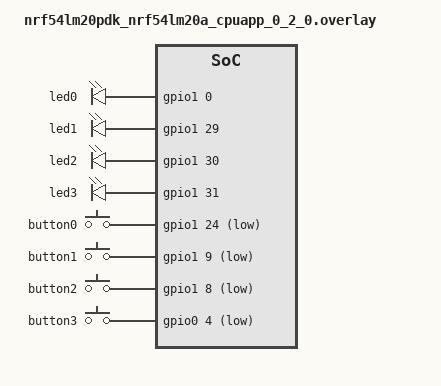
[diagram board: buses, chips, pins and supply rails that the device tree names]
/*
 * Copyright (c) 2025 Nordic Semiconductor ASA
 *
 * SPDX-License-Identifier: Apache-2.0
 */

/ {
	leds {
		compatible = "gpio-leds";

		led0: led_0 {
			gpios = <&gpio1 0 GPIO_ACTIVE_HIGH>;
		};

		led1: led_1 {
			gpios = <&gpio1 29 GPIO_ACTIVE_HIGH>;
		};

		led2: led_2 {
			gpios = <&gpio1 30 GPIO_ACTIVE_HIGH>;
		};

		led3: led_3 {
			gpios = <&gpio1 31 GPIO_ACTIVE_HIGH>;
		};
	};

	buttons {
		compatible = "gpio-keys";

		button0: button_0 {
			gpios = <&gpio1 24 (GPIO_PULL_UP | GPIO_ACTIVE_LOW)>;
		};

		button1: button_1 {
			gpios = <&gpio1 9 (GPIO_PULL_UP | GPIO_ACTIVE_LOW)>;
		};

		button2: button_2 {
			gpios = <&gpio1 8 (GPIO_PULL_UP | GPIO_ACTIVE_LOW)>;
		};

		button3: button_3 {
			gpios = <&gpio0 4 (GPIO_PULL_UP | GPIO_ACTIVE_LOW)>;
		};
	};
};

&gpio0 {
	gpio-reserved-ranges = <0 3>;
};

&gpio1 {
	gpio-reserved-ranges = <10 5>, <17 1>, <22 2>, <25 4>;
};

&gpio2 {
	gpio-reserved-ranges = <6 4>;
};

&gpio3 {
	gpio-reserved-ranges = <0 12>;
};

&pinctrl {
	/omit-if-no-ref/ uart20_default: uart20_default {
		group1 {
			psels = <NRF_PSEL(UART_TX, 1, 4)>,
				<NRF_PSEL(UART_RTS, 1, 6)>;
		};

		group2 {
			psels = <NRF_PSEL(UART_RX, 1, 5)>,
				<NRF_PSEL(UART_CTS, 1, 7)>;
			bias-pull-up;
		};
	};

	/omit-if-no-ref/ uart20_sleep: uart20_sleep {
		group1 {
			psels = <NRF_PSEL(UART_TX, 1, 4)>,
				<NRF_PSEL(UART_RX, 1, 5)>,
				<NRF_PSEL(UART_RTS, 1, 6)>,
				<NRF_PSEL(UART_CTS, 1, 7)>;
			low-power-enable;
		};
	};

	/omit-if-no-ref/ uart30_default: uart30_default {
		group1 {
			psels = <NRF_PSEL(UART_TX, 0, 6)>,
				<NRF_PSEL(UART_RTS, 0, 8)>;
		};

		group2 {
			psels = <NRF_PSEL(UART_RX, 0, 7)>,
				<NRF_PSEL(UART_CTS, 0, 9)>;
			bias-pull-up;
		};
	};

	/omit-if-no-ref/ uart30_sleep: uart30_sleep {
		group1 {
			psels = <NRF_PSEL(UART_TX, 0, 6)>,
				<NRF_PSEL(UART_RX, 0, 7)>,
				<NRF_PSEL(UART_RTS, 0, 8)>,
				<NRF_PSEL(UART_CTS, 0, 9)>;
			low-power-enable;
		};
	};

	/omit-if-no-ref/ pwm20_default: pwm20_default {
		group1 {
			psels = <NRF_PSEL(PWM_OUT0, 1, 29)>;
		};
	};

	/omit-if-no-ref/ pwm20_sleep: pwm20_sleep {
		group1 {
			psels = <NRF_PSEL(PWM_OUT0, 1, 29)>;
			low-power-enable;
		};
	};
};
